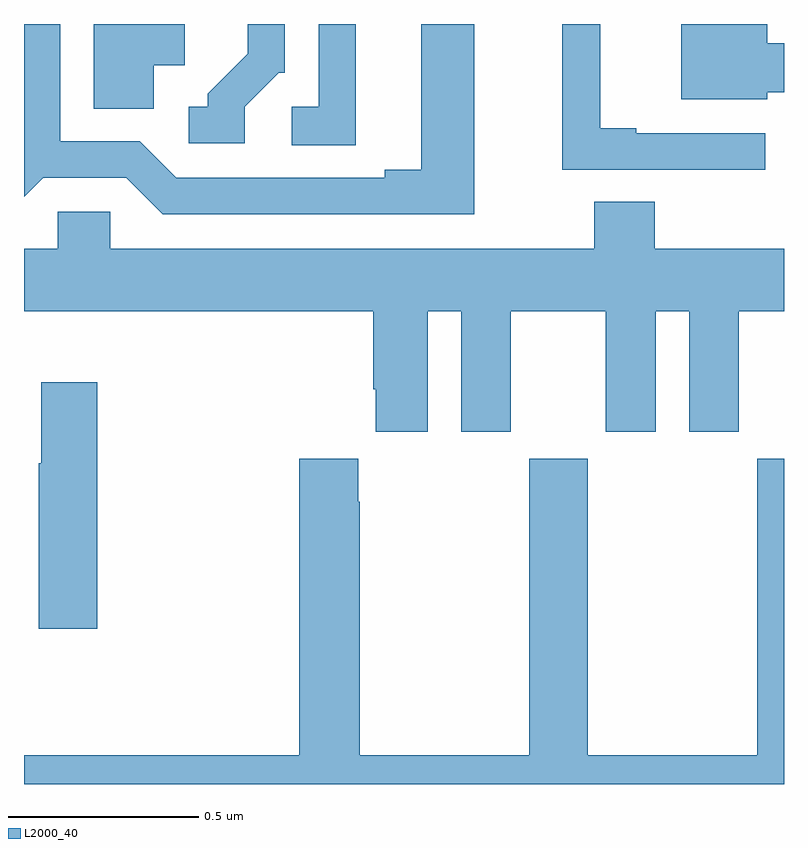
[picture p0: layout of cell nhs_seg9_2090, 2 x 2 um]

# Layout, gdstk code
import gdstk
lib = gdstk.Library(unit=1e-6, precision=1e-09)
def P(c, l, *ps):  # polygons
    for p in ps: c.add(gdstk.Polygon(p, *l))
L2000_40 = (2000, 40)

nhs_seg9_2090 = lib.new_cell('nhs_seg9_2090')
P(nhs_seg9_2090, L2000_40, [(137.95,1206.213),(137.611,1206.213),(137.611,1206.226),(137.516,1206.226),(137.516,1206.5),(137.416,1206.5),(137.416,1206.117),(137.95,1206.117)],
  [(136.873,1206.5),(136.776,1206.5),(136.776,1206.282),(136.704,1206.282),(136.704,1206.181),(136.873,1206.181)],
  [(137.185,1206.5),(137.045,1206.5),(137.045,1206.116),(136.949,1206.116),(136.949,1206.096),(136.401,1206.096),(136.305,1206.192),(136.095,1206.192),(136.095,1206.5),(136,1206.5),(136,1206.045),(136.051,1206.096),(136.269,1206.096),(136.365,1206),(137.185,1206)],
  [(137.956,1206.321),(138,1206.321),(138,1206.449),(137.956,1206.449),(137.956,1206.5),(137.729,1206.5),(137.729,1206.302),(137.956,1206.302)],
  [(136.581,1206.282),(136.671,1206.372),(136.686,1206.372),(136.686,1206.5),(136.589,1206.5),(136.589,1206.422),(136.484,1206.317),(136.484,1206.282),(136.434,1206.282),(136.434,1206.186),(136.581,1206.186)],
  [(136.342,1206.392),(136.423,1206.392),(136.423,1206.5),(136.184,1206.5),(136.184,1206.277),(136.342,1206.277)],
  [(137.062,1205.744),(137.15,1205.744),(137.15,1205.427),(137.281,1205.427),(137.281,1205.744),(137.531,1205.744),(137.531,1205.427),(137.662,1205.427),(137.662,1205.744),(137.75,1205.744),(137.75,1205.427),(137.881,1205.427),(137.881,1205.744),(138,1205.744),(138,1205.908),(137.66,1205.908),(137.66,1206.032),(137.5,1206.032),(137.5,1205.908),(136.227,1205.908),(136.227,1206.006),(136.089,1206.006),(136.089,1205.908),(136,1205.908),(136,1205.744),(136.919,1205.744),(136.919,1205.539),(136.925,1205.539),(136.925,1205.427),(137.062,1205.427)],
  [(136.193,1205.557),(136.046,1205.557),(136.046,1205.344),(136.039,1205.344),(136.039,1204.908),(136.193,1204.908)],
  [(138,1205.356),(137.929,1205.356),(137.929,1204.576),(137.484,1204.576),(137.484,1205.356),(137.329,1205.356),(137.329,1204.576),(136.884,1204.576),(136.884,1205.243),(136.879,1205.243),(136.879,1205.356),(136.724,1205.356),(136.724,1204.576),(136,1204.576),(136,1204.5),(138,1204.5)])

lib.write_gds('nhs_seg9_2090.gds')
